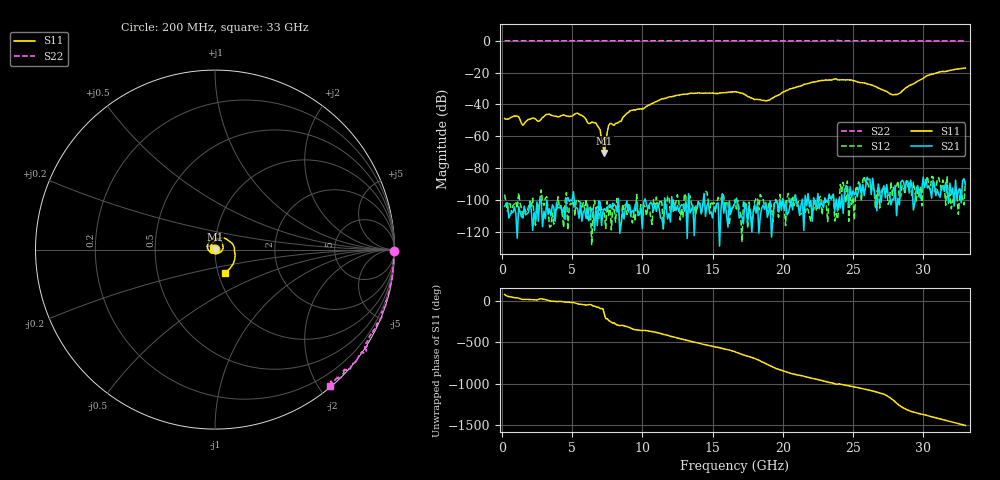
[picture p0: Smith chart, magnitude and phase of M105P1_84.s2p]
# GHZ S RI R 50
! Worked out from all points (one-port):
!   329 points, 200 MHz to 33 GHz, reference 50 ohm
!   lowest |S11| = -70.5 dB at 7.3 GHz (marker M1), VSWR 1.00, Z = 50 - j0.0114 ohm
!   |S11| at or under -10 dB: start of sweep to end of sweep
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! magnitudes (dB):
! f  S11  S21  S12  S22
! 200 MHz  -48.8  -103.9  -96.5  0.0
! 1.1 GHz  -47.2  -123.8  -105.2  0.0
! 1.5 GHz  -53.1  -111.0  -111.6  0.0
! 3.2 GHz  -46.3  -99.9  -97.8  0.0
! 5.7 GHz  -46.8  -113.2  -104.4  0.0
! 6.9 GHz  -54.3  -100.5  -111.5  0.0
! 7 GHz  -55.9  -101.2  -102.6  0.0
! 7.3 GHz  -70.5  -105.3  -108.8  0.0
! 7.5 GHz  -57.7  -104.5  -100.9  0.0
! 7.7 GHz  -52.0  -103.0  -102.9  0.0
! 8 GHz  -53.1  -102.6  -106.4  0.0
! 9.1 GHz  -44.1  -103.0  -105.8  0.0
! 11.2 GHz  -37.2  -105.3  -102.0  0.0
! 13.5 GHz  -32.9  -106.2  -102.0  0.0
! 16.6 GHz  -32.0  -101.8  -99.7  -0.1
! 18.8 GHz  -37.8  -101.4  -104.0  -0.1
! 22.1 GHz  -26.0  -113.2  -106.2  -0.1
! 24.9 GHz  -24.7  -98.1  -102.7  0.0
! 27.6 GHz  -33.1  -97.1  -100.6  0.0
! 28.2 GHz  -33.5  -98.8  -88.1  0.0
! 30.3 GHz  -21.8  -92.4  -85.0  0.0
! 33 GHz  -17.1  -90.3  -88.3  0.0
